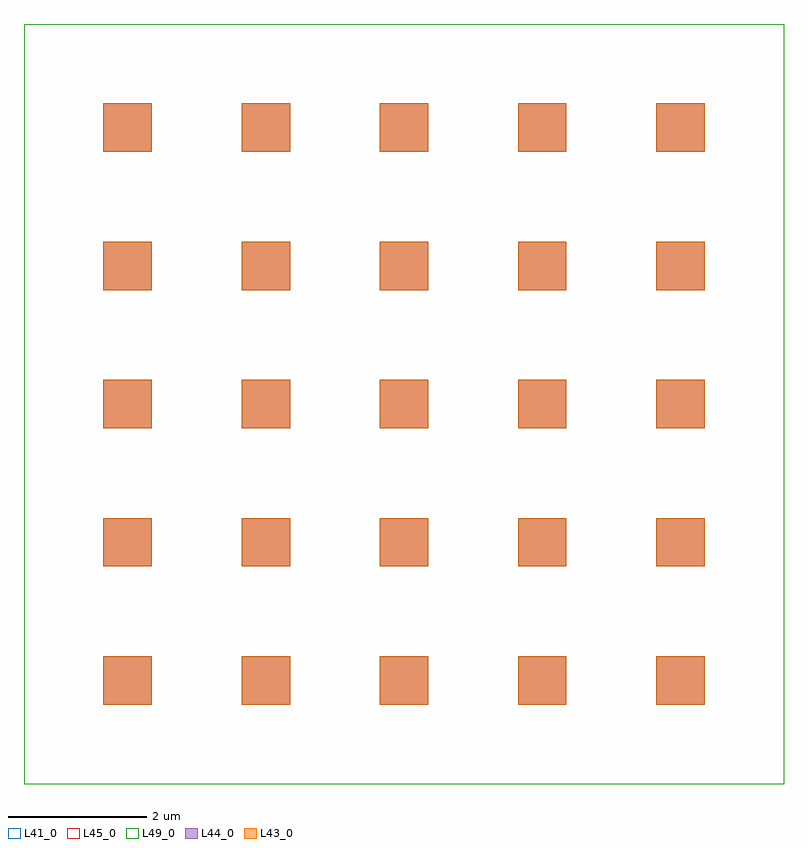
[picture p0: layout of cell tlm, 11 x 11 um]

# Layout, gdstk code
import gdstk
lib = gdstk.Library(unit=1e-6, precision=1e-09)
def R(c, l, rs):  # rectangles x0, y0, x1, y1
    for r in rs: c.add(gdstk.rectangle(r[:2], r[2:], *l))
def A(c, l, x, y, w, h, nx, ny, dx, dy):  # array of equal rectangles
    R(c, l, [(x+i*dx, y+j*dy, x+i*dx+w, y+j*dy+h) for i in range(nx) for j in range(ny)])
L41_0 = (41, 0)
L43_0 = (43, 0)
L44_0 = (44, 0)
L45_0 = (45, 0)
L49_0 = (49, 0)

tlm = lib.new_cell('tlm')
R(tlm, L41_0, [(-5.5,-5.5,5.5,5.5)])
A(tlm, L43_0, -4.35, -4.35, 0.7, 0.7, 5, 5, 2, 2)
A(tlm, L44_0, -4.35, -4.35, 0.7, 0.7, 5, 5, 2, 2)
R(tlm, L45_0, [(-5.5,-5.5,5.5,5.5)])
R(tlm, L49_0, [(-5.5,-5.5,5.5,5.5)])

lib.write_gds('tlm.gds')
